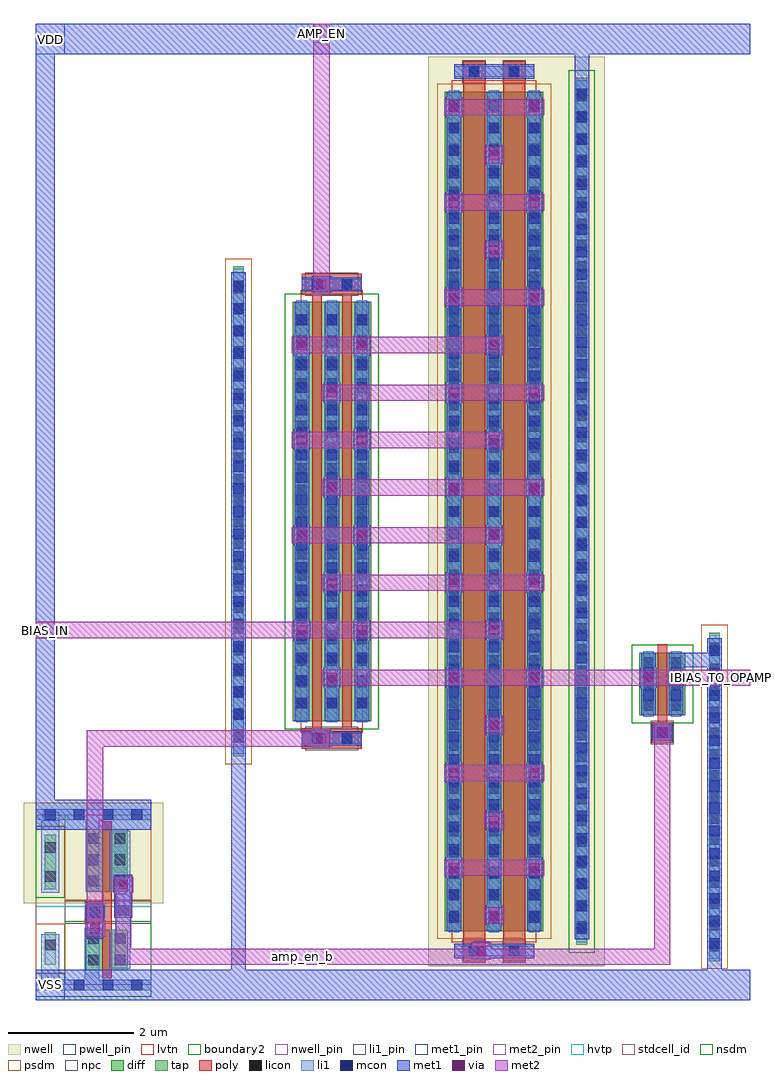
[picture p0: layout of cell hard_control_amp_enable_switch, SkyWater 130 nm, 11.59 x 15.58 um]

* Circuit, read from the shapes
.subckt hard_control_amp_enable_switch AMP_EN BIAS_IN IBIAS_TO_OPAMP VDD VSS amp_en_b
XM1 amp_en_b AMP_EN VSS VSS sky130_fd_pr__nfet_01v8 w=0.65 l=0.15
XM2 IBIAS_TO_OPAMP AMP_EN BIAS_IN VSS sky130_fd_pr__nfet_01v8_lvt w=6.7 l=0.15 m=2
XM3 VSS amp_en_b IBIAS_TO_OPAMP VSS sky130_fd_pr__nfet_01v8 w=1 l=0.15
XM4 amp_en_b AMP_EN VDD VDD sky130_fd_pr__pfet_01v8_hvt w=1 l=0.15
XM5 BIAS_IN amp_en_b IBIAS_TO_OPAMP VDD sky130_fd_pr__pfet_01v8_lvt w=13.4 l=0.35 m=2
.ends

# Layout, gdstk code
import gdstk
lib = gdstk.Library(unit=1e-6, precision=1e-09)
def R(c, l, rs):  # rectangles x0, y0, x1, y1
    for r in rs: c.add(gdstk.rectangle(r[:2], r[2:], *l))
def A(c, l, x, y, w, h, nx, ny, dx, dy):  # array of equal rectangles
    R(c, l, [(x+i*dx, y+j*dy, x+i*dx+w, y+j*dy+h) for i in range(nx) for j in range(ny)])
def P(c, l, *ps):  # polygons
    for p in ps: c.add(gdstk.Polygon(p, *l))
nwell_pin = (64, 16)
nwell = (64, 20)
diff = (65, 20)
tap = (65, 44)
poly = (66, 20)
licon = (66, 44)
li1_pin = (67, 16)
li1 = (67, 20)
mcon = (67, 44)
met1_pin = (68, 16)
met1 = (68, 20)
via = (68, 44)
met2_pin = (69, 16)
met2 = (69, 20)
hvtp = (78, 44)
stdcell_id = (81, 4)
nsdm = (93, 44)
psdm = (94, 20)
npc = (95, 20)
pwell_pin = (122, 16)
lvtn = (125, 44)
boundary2 = (236, 0)

sky130_fd_sc_hd__tapvpwr = lib.new_cell('sky130_fd_sc_hd__tapvpwrvgnd_1')
R(sky130_fd_sc_hd__tapvpwr, nwell, [(-0.19,1.305,0.65,2.91)])
R(sky130_fd_sc_hd__tapvpwr, tap, [(0.145,0.32,0.315,0.845), (0.145,1.525,0.315,2.4)])
R(sky130_fd_sc_hd__tapvpwr, licon, [(0.145,0.555,0.315,0.725), (0.145,1.645,0.315,1.815), (0.145,2.11,0.315,2.28)])
R(sky130_fd_sc_hd__tapvpwr, li1, [(0,-0.085,0.46,0.085), (0.085,0,0.375,0.81), (0.085,1.47,0.375,2.72), (0,2.635,0.46,2.805)])
R(sky130_fd_sc_hd__tapvpwr, mcon, [(0.145,-0.085,0.315,0.085), (0.145,2.635,0.315,2.805)])
R(sky130_fd_sc_hd__tapvpwr, met1_pin, [(0.105,-0.09,0.36,0.1), (0.11,2.62,0.375,2.765)])
R(sky130_fd_sc_hd__tapvpwr, met1, [(0,-0.24,0.46,0.24), (0,2.48,0.46,2.96)])
R(sky130_fd_sc_hd__tapvpwr, hvtp, [(0,1.25,0.46,2.72)])
R(sky130_fd_sc_hd__tapvpwr, stdcell_id, [(0,0,0.46,2.72)])
R(sky130_fd_sc_hd__tapvpwr, nsdm, [(0,-0.19,0.46,0.19), (0,1.395,0.46,2.53)])
R(sky130_fd_sc_hd__tapvpwr, psdm, [(0,0.19,0.46,0.975), (0,2.53,0.46,2.91)])
sky130_fd_sc_hd__tapvpwr.add(gdstk.Label('VPWR', (0.23,2.72), layer=68, texttype=5))
sky130_fd_sc_hd__tapvpwr.add(gdstk.Label('VGND', (0.23,0), layer=68, texttype=5))
sky130_fd_sc_hd__tapvpwr.add(gdstk.Label('tapvpwrvgnd_1', (0,0), layer=83, texttype=44))

sky130_fd_pr__nfet_01v8_ = lib.new_cell('sky130_fd_pr__nfet_01v8_EUBQG3')
R(sky130_fd_pr__nfet_01v8_, diff, [(-0.365,-0.345,0.365,0.655)])
R(sky130_fd_pr__nfet_01v8_, poly, [(-0.165,-0.785,0.165,-0.455), (-0.075,-0.455,0.075,0.785)])
A(sky130_fd_pr__nfet_01v8_, licon, -0.305, -0.27, 0.17, 0.17, 1, 3, 0, 0.34)
A(sky130_fd_pr__nfet_01v8_, licon, 0.135, -0.27, 0.17, 0.17, 1, 3, 0, 0.34)
R(sky130_fd_pr__nfet_01v8_, licon, [(-0.085,-0.705,0.085,-0.535)])
R(sky130_fd_pr__nfet_01v8_, li1, [(-0.165,-0.705,0.165,-0.535), (-0.305,-0.365,-0.135,0.675), (0.135,-0.365,0.305,0.675)])
R(sky130_fd_pr__nfet_01v8_, mcon, [(-0.085,-0.705,0.085,-0.535), (-0.305,-0.11,-0.135,0.06), (0.135,-0.11,0.305,0.06), (-0.305,0.25,-0.135,0.42), (0.135,0.25,0.305,0.42)])
R(sky130_fd_pr__nfet_01v8_, met1, [(-0.145,-0.735,0.145,-0.505), (-0.335,-0.345,-0.105,0.655), (0.105,-0.345,0.335,0.655)])
R(sky130_fd_pr__nfet_01v8_, nsdm, [(-0.49,-0.47,0.49,0.78)])
R(sky130_fd_pr__nfet_01v8_, npc, [(-0.185,-0.805,0.185,-0.435)])
sky130_fd_pr__nfet_01v8_.add(gdstk.Label('D', (-0.22,0.155), layer=67, texttype=5))
sky130_fd_pr__nfet_01v8_.add(gdstk.Label('S', (0.22,0.155), layer=67, texttype=5))
sky130_fd_pr__nfet_01v8_.add(gdstk.Label('G', (0,-0.62), layer=67, texttype=5))

sky130_fd_pr__pfet_01v8_ = lib.new_cell('sky130_fd_pr__pfet_01v8_lvt_PLM4NS')
R(sky130_fd_pr__pfet_01v8_, nwell, [(-0.965,-7.2,0.965,7.2)])
R(sky130_fd_pr__pfet_01v8_, diff, [(-0.785,-6.7,0.785,6.7)])
R(sky130_fd_pr__pfet_01v8_, poly, [(-0.495,-7.185,-0.145,7.185), (0.145,-7.185,0.495,7.185)])
A(sky130_fd_pr__pfet_01v8_, licon, -0.725, -6.545, 0.17, 0.17, 3, 39, 0.64, 0.34)
R(sky130_fd_pr__pfet_01v8_, licon, [(-0.405,-7.105,-0.235,-6.935), (0.235,-7.105,0.405,-6.935), (-0.405,6.935,-0.235,7.105), (0.235,6.935,0.405,7.105)])
A(sky130_fd_pr__pfet_01v8_, li1, -0.725, -6.72, 0.17, 13.44, 3, 1, 0.64, 0)
R(sky130_fd_pr__pfet_01v8_, li1, [(-0.64,-7.105,0.64,-6.935), (-0.64,6.935,0.64,7.105)])
A(sky130_fd_pr__pfet_01v8_, mcon, -0.725, -6.565, 0.17, 0.17, 3, 37, 0.64, 0.36)
R(sky130_fd_pr__pfet_01v8_, mcon, [(-0.405,-7.105,-0.235,-6.935), (0.235,-7.105,0.405,-6.935), (-0.405,6.935,-0.235,7.105), (0.235,6.935,0.405,7.105)])
A(sky130_fd_pr__pfet_01v8_, met1, -0.755, -6.7, 0.23, 13.4, 3, 1, 0.64, 0)
R(sky130_fd_pr__pfet_01v8_, met1, [(-0.475,-7.135,-0.165,-7.105), (0.165,-7.135,0.475,-7.105), (-0.64,-7.105,0.64,-6.935), (-0.475,-6.935,-0.165,-6.905), (0.165,-6.935,0.475,-6.905), (-0.475,6.905,-0.165,6.935), (0.165,6.905,0.475,6.935), (-0.64,6.935,0.64,7.105), (-0.475,7.105,-0.165,7.135), (0.165,7.105,0.475,7.135)])
R(sky130_fd_pr__pfet_01v8_, psdm, [(-0.91,-6.825,0.91,6.825)])
R(sky130_fd_pr__pfet_01v8_, npc, [(-0.505,-7.205,-0.135,-6.835), (0.135,-7.205,0.505,-6.835), (-0.505,6.835,-0.135,7.205), (0.135,6.835,0.505,7.205)])
R(sky130_fd_pr__pfet_01v8_, lvtn, [(-0.675,-6.88,0.675,6.88)])
sky130_fd_pr__pfet_01v8_.add(gdstk.Label('D0', (-0.64,0), layer=67, texttype=5))
sky130_fd_pr__pfet_01v8_.add(gdstk.Label('G', (0.32,7.02), layer=67, texttype=5))
sky130_fd_pr__pfet_01v8_.add(gdstk.Label('G', (-0.32,7.02), layer=67, texttype=5))
sky130_fd_pr__pfet_01v8_.add(gdstk.Label('S1', (0,0), layer=67, texttype=5))

c_sky130_fd_pr__nfet_01v8_ = lib.new_cell('sky130_fd_pr__nfet_01v8_lvt_8N3VU6')
R(c_sky130_fd_pr__nfet_01v8_, diff, [(-0.625,-3.35,0.625,3.35)])
R(c_sky130_fd_pr__nfet_01v8_, poly, [(-0.48,-3.79,0.48,-3.46), (-0.315,-3.46,-0.165,3.46), (0.165,-3.46,0.315,3.46), (-0.48,3.46,0.48,3.79)])
A(c_sky130_fd_pr__nfet_01v8_, licon, -0.565, -3.145, 0.17, 0.17, 3, 19, 0.48, 0.34)
R(c_sky130_fd_pr__nfet_01v8_, licon, [(-0.325,-3.71,-0.155,-3.54), (0.155,-3.71,0.325,-3.54), (-0.325,3.54,-0.155,3.71), (0.155,3.54,0.325,3.71)])
A(c_sky130_fd_pr__nfet_01v8_, li1, -0.565, -3.37, 0.17, 6.74, 3, 1, 0.48, 0)
R(c_sky130_fd_pr__nfet_01v8_, li1, [(-0.48,-3.71,0.48,-3.54), (-0.48,3.54,0.48,3.71)])
A(c_sky130_fd_pr__nfet_01v8_, mcon, -0.565, -3.145, 0.17, 0.17, 3, 18, 0.48, 0.36)
R(c_sky130_fd_pr__nfet_01v8_, mcon, [(-0.325,-3.71,-0.155,-3.54), (0.155,-3.71,0.325,-3.54), (-0.325,3.54,-0.155,3.71), (0.155,3.54,0.325,3.71)])
A(c_sky130_fd_pr__nfet_01v8_, met1, -0.595, -3.35, 0.23, 6.7, 3, 1, 0.48, 0)
R(c_sky130_fd_pr__nfet_01v8_, met1, [(-0.385,-3.74,-0.095,-3.71), (0.095,-3.74,0.385,-3.71), (-0.48,-3.71,0.48,-3.54), (-0.385,-3.54,-0.095,-3.51), (0.095,-3.54,0.385,-3.51), (-0.385,3.51,-0.095,3.54), (0.095,3.51,0.385,3.54), (-0.48,3.54,0.48,3.71), (-0.385,3.71,-0.095,3.74), (0.095,3.71,0.385,3.74)])
R(c_sky130_fd_pr__nfet_01v8_, nsdm, [(-0.75,-3.475,0.75,3.475)])
R(c_sky130_fd_pr__nfet_01v8_, npc, [(-0.425,-3.81,0.425,-3.44), (-0.425,3.44,0.425,3.81)])
R(c_sky130_fd_pr__nfet_01v8_, lvtn, [(-0.495,-3.53,0.495,3.53)])
c_sky130_fd_pr__nfet_01v8_.add(gdstk.Label('D0', (-0.48,0), layer=67, texttype=5))
c_sky130_fd_pr__nfet_01v8_.add(gdstk.Label('G', (0.24,3.625), layer=67, texttype=5))
c_sky130_fd_pr__nfet_01v8_.add(gdstk.Label('G', (-0.24,3.625), layer=67, texttype=5))
c_sky130_fd_pr__nfet_01v8_.add(gdstk.Label('S1', (0,0), layer=67, texttype=5))

switch_tg_analog_nf02 = lib.new_cell('switch_tg_analog_nf02')
R(switch_tg_analog_nf02, nwell, [(3.36,-7.26,6.18,7.26)])
R(switch_tg_analog_nf02, tap, [(5.73,-6.92,5.9,6.92), (0.25,-3.91,0.42,3.91)])
A(switch_tg_analog_nf02, licon, 5.73, -6.715, 0.17, 0.17, 1, 40, 0, 0.34)
A(switch_tg_analog_nf02, licon, 0.25, -3.655, 0.17, 0.17, 1, 22, 0, 0.34)
R(switch_tg_analog_nf02, li1, [(5.73,-6.88,5.9,6.88), (0.25,-3.87,0.42,3.87)])
A(switch_tg_analog_nf02, mcon, 5.73, -6.745, 0.17, 0.17, 1, 38, 0, 0.36)
A(switch_tg_analog_nf02, mcon, 0.25, -3.685, 0.17, 0.17, 1, 21, 0, 0.36)
R(switch_tg_analog_nf02, met1_pin, [(0.22,-0.4,0.45,0.4), (5.7,-0.4,5.93,0.4), (1.345,3.51,1.98,3.74), (3.775,6.905,4.64,7.135)])
R(switch_tg_analog_nf02, met1, [(3.775,-7.135,5.055,-6.905), (5.7,-6.83,5.93,6.83), (4.285,-6.61,4.545,-6.29), (3.645,-5.85,3.905,-5.53), (4.925,-5.85,5.185,-5.53), (4.285,-5.09,4.545,-4.77), (3.645,-4.335,3.905,-4.015), (4.925,-4.335,5.185,-4.015), (0.22,-3.82,0.45,3.82), (1.345,-3.74,2.305,-3.51), (4.285,-3.575,4.545,-3.255), (1.695,-2.815,1.955,-2.495), (3.645,-2.815,3.905,-2.495), (4.925,-2.815,5.185,-2.495), (1.215,-2.055,1.475,-1.735), (2.175,-2.055,2.435,-1.735), (4.285,-2.055,4.545,-1.735), (1.695,-1.3,1.955,-0.98), (3.645,-1.3,3.905,-0.98), (4.925,-1.3,5.185,-0.98), (1.215,-0.54,1.475,-0.22), (2.175,-0.54,2.435,-0.22), (4.285,-0.54,4.545,-0.22), (1.695,0.22,1.955,0.54), (3.645,0.22,3.905,0.54), (4.925,0.22,5.185,0.54), (1.215,0.98,1.475,1.3), (2.175,0.98,2.435,1.3), (4.285,0.98,4.545,1.3), (1.695,1.735,1.955,2.055), (3.645,1.735,3.905,2.055), (4.925,1.735,5.185,2.055), (1.215,2.495,1.475,2.815), (2.175,2.495,2.435,2.815), (4.285,2.495,4.545,2.815), (3.645,3.255,3.905,3.575), (4.925,3.255,5.185,3.575), (1.345,3.51,2.305,3.74), (4.285,4.015,4.545,4.335), (3.645,4.77,3.905,5.09), (4.925,4.77,5.185,5.09), (4.285,5.53,4.545,5.85), (3.645,6.29,3.905,6.61), (4.925,6.29,5.185,6.61), (3.775,6.905,5.055,7.135)])
R(switch_tg_analog_nf02, via, [(4.34,-6.525,4.49,-6.375), (3.7,-5.765,3.85,-5.615), (4.98,-5.765,5.13,-5.615), (4.34,-5.005,4.49,-4.855), (3.7,-4.25,3.85,-4.1), (4.98,-4.25,5.13,-4.1), (4.34,-3.49,4.49,-3.34), (1.75,-2.73,1.9,-2.58), (3.7,-2.73,3.85,-2.58), (4.98,-2.73,5.13,-2.58), (1.27,-1.97,1.42,-1.82), (2.23,-1.97,2.38,-1.82), (4.34,-1.97,4.49,-1.82), (1.75,-1.215,1.9,-1.065), (3.7,-1.215,3.85,-1.065), (4.98,-1.215,5.13,-1.065), (1.27,-0.455,1.42,-0.305), (2.23,-0.455,2.38,-0.305), (4.34,-0.455,4.49,-0.305), (1.75,0.305,1.9,0.455), (3.7,0.305,3.85,0.455), (4.98,0.305,5.13,0.455), (1.27,1.065,1.42,1.215), (2.23,1.065,2.38,1.215), (4.34,1.065,4.49,1.215), (1.75,1.82,1.9,1.97), (3.7,1.82,3.85,1.97), (4.98,1.82,5.13,1.97), (1.27,2.58,1.42,2.73), (2.23,2.58,2.38,2.73), (4.34,2.58,4.49,2.73), (3.7,3.34,3.85,3.49), (4.98,3.34,5.13,3.49), (4.34,4.1,4.49,4.25), (3.7,4.855,3.85,5.005), (4.98,4.855,5.13,5.005), (4.34,5.615,4.49,5.765), (3.7,6.375,3.85,6.525), (4.98,6.375,5.13,6.525)])
R(switch_tg_analog_nf02, met2_pin, [(4.915,-2.785,5.215,-2.525), (1.185,-2.025,1.485,-1.765)])
R(switch_tg_analog_nf02, met2, [(4.255,-6.58,4.575,-6.32), (3.615,-5.82,5.215,-5.56), (4.255,-5.06,4.575,-4.8), (3.615,-4.305,5.215,-4.045), (4.255,-3.545,4.575,-3.285), (1.665,-2.785,5.215,-2.525), (1.185,-2.025,4.575,-1.765), (1.665,-1.27,5.215,-1.01), (1.185,-0.51,4.575,-0.25), (1.665,0.25,5.215,0.51), (1.185,1.01,4.575,1.27), (1.665,1.765,5.215,2.025), (1.185,2.525,4.575,2.785), (3.615,3.285,5.215,3.545), (4.255,4.045,4.575,4.305), (3.615,4.8,5.215,5.06), (4.255,5.56,4.575,5.82), (3.615,6.32,5.215,6.58)])
R(switch_tg_analog_nf02, nsdm, [(5.605,-7.045,6.025,7.045)])
R(switch_tg_analog_nf02, psdm, [(0.125,-4.035,0.545,4.035)])
switch_tg_analog_nf02.add(gdstk.Reference(sky130_fd_pr__pfet_01v8_, (4.415,0)))
switch_tg_analog_nf02.add(gdstk.Reference(c_sky130_fd_pr__nfet_01v8_, (1.825,0)))
switch_tg_analog_nf02.add(gdstk.Label('G', (1.662,3.625), layer=68, texttype=5))
switch_tg_analog_nf02.add(gdstk.Label('GB', (4.207,7.02), layer=68, texttype=5))
switch_tg_analog_nf02.add(gdstk.Label('VSS', (0.335,0), layer=68, texttype=5))
switch_tg_analog_nf02.add(gdstk.Label('VDD', (5.815,0), layer=68, texttype=5))
switch_tg_analog_nf02.add(gdstk.Label('A', (1.335,-1.895), layer=69, texttype=5))
switch_tg_analog_nf02.add(gdstk.Label('B', (5.065,-2.655), layer=69, texttype=5))

sky130_fd_sc_hd__inv_1 = lib.new_cell('sky130_fd_sc_hd__inv_1')
R(sky130_fd_sc_hd__inv_1, nwell_pin, [(0.145,2.635,0.315,2.805), (0.145,2.635,0.315,2.805)])
R(sky130_fd_sc_hd__inv_1, nwell, [(-0.19,1.305,1.57,2.91)])
R(sky130_fd_sc_hd__inv_1, diff, [(0.34,0.235,1.01,0.885), (0.34,1.485,1.01,2.485)])
P(sky130_fd_sc_hd__inv_1, poly, [(0.6,0.105),(0.6,0.995),(0.32,0.995),(0.32,1.325),(0.6,1.325),(0.6,2.615),(0.75,2.615),(0.75,0.105)])
A(sky130_fd_sc_hd__inv_1, licon, 0.38, 1.575, 0.17, 0.17, 1, 3, 0, 0.34)
A(sky130_fd_sc_hd__inv_1, licon, 0.8, 1.575, 0.17, 0.17, 1, 3, 0, 0.34)
R(sky130_fd_sc_hd__inv_1, licon, [(0.38,0.315,0.55,0.485), (0.8,0.315,0.97,0.485), (0.38,0.655,0.55,0.825), (0.8,0.655,0.97,0.825), (0.4,1.075,0.57,1.245)])
R(sky130_fd_sc_hd__inv_1, li1_pin, [(0.36,1.105,0.53,1.275), (0.82,1.105,0.99,1.275), (0.82,1.445,0.99,1.615)])
R(sky130_fd_sc_hd__inv_1, li1, [(0,-0.085,1.38,0.085), (0.32,0.005,0.55,0.905), (0.32,1.075,0.65,1.315), (0.34,1.495,0.55,2.675), (0,2.635,1.38,2.805)])
P(sky130_fd_sc_hd__inv_1, li1, [(0.72,0.255),(0.72,0.885),(0.82,0.885),(0.82,1.485),(0.72,1.485),(0.72,2.465),(1.05,2.465),(1.05,0.255)])
A(sky130_fd_sc_hd__inv_1, mcon, 0.145, -0.085, 0.17, 0.17, 3, 2, 0.46, 2.72)
R(sky130_fd_sc_hd__inv_1, met1_pin, [(0.145,-0.085,0.315,0.085), (0.145,-0.085,0.315,0.085), (0.145,2.635,0.315,2.805), (0.145,2.635,0.315,2.805)])
R(sky130_fd_sc_hd__inv_1, hvtp, [(0,1.25,1.38,2.72)])
R(sky130_fd_sc_hd__inv_1, stdcell_id, [(0,0,1.38,2.72)])
R(sky130_fd_sc_hd__inv_1, nsdm, [(0,-0.19,1.38,1.015)])
R(sky130_fd_sc_hd__inv_1, psdm, [(0,1.355,1.38,2.91)])
R(sky130_fd_sc_hd__inv_1, npc, [(0,0.975,1.38,1.345)])
R(sky130_fd_sc_hd__inv_1, pwell_pin, [(0.145,-0.085,0.315,0.085), (0.145,-0.085,0.315,0.085)])
R(sky130_fd_sc_hd__inv_1, boundary2, [(0,0,1.38,2.72)])
sky130_fd_sc_hd__inv_1.add(gdstk.FlexPath([(0,2.72),(1.38,2.72)], 0.48, ends="flush", simple_path=True, layer=68, datatype=20))  # met1
sky130_fd_sc_hd__inv_1.add(gdstk.FlexPath([(0,0),(1.38,0)], 0.48, ends="flush", simple_path=True, layer=68, datatype=20))  # met1
sky130_fd_sc_hd__inv_1.add(gdstk.Label('Y', (0.905,1.53), layer=67, texttype=5))
sky130_fd_sc_hd__inv_1.add(gdstk.Label('Y', (0.905,1.19), layer=67, texttype=5))
sky130_fd_sc_hd__inv_1.add(gdstk.Label('A', (0.445,1.19), layer=67, texttype=5))
sky130_fd_sc_hd__inv_1.add(gdstk.Label('VGND', (0.23,0), layer=68, texttype=5))
sky130_fd_sc_hd__inv_1.add(gdstk.Label('VPWR', (0.23,2.72), layer=68, texttype=5))
sky130_fd_sc_hd__inv_1.add(gdstk.Label('inv_1', (0,0), layer=83, texttype=44))
sky130_fd_sc_hd__inv_1.add(gdstk.Label('VPB', (0.23,2.72), layer=64, texttype=5))
sky130_fd_sc_hd__inv_1.add(gdstk.Label('VNB', (0.23,0), layer=64, texttype=59))

hard_control_amp_enable_ = lib.new_cell('hard_control_amp_enable_switch')
R(hard_control_amp_enable_, tap, [(10.75,0.38,10.92,5.625)])
A(hard_control_amp_enable_, licon, 10.75, 0.535, 0.17, 0.17, 1, 15, 0, 0.34)
R(hard_control_amp_enable_, li1, [(10.75,0.42,10.92,5.585), (0.86,1.075,1.03,1.245), (1.31,1.105,1.48,1.275)])
A(hard_control_amp_enable_, mcon, 10.75, 0.575, 0.17, 0.17, 1, 14, 0, 0.36)
R(hard_control_amp_enable_, mcon, [(0.86,1.075,1.03,1.245), (1.31,1.105,1.48,1.275)])
R(hard_control_amp_enable_, met1_pin, [(0,-0.24,0.46,0.24), (0,14.86,0.46,15.34)])
R(hard_control_amp_enable_, met1, [(0,-0.24,11.4,0.24), (3.12,0.24,3.35,3.96), (10.72,0.24,10.95,5.075), (6.95,0.41,7.27,0.67), (0.815,0.74,1.075,1.045), (0.8,1.045,1.09,1.275), (1.25,1.075,1.54,1.76), (0.815,1.275,1.075,1.3), (0,2.48,0.3,14.86), (4.4,3.805,4.72,4.065), (9.84,3.9,10.16,4.16), (9.65,4.745,9.91,5.065), (10.105,5.075,10.95,5.305), (10.72,5.305,10.95,5.535), (4.4,11.055,4.72,11.315), (8.6,14.16,8.83,14.86), (0,14.86,11.4,15.34)])
R(hard_control_amp_enable_, via, [(7.035,0.465,7.185,0.615), (0.87,0.825,1.02,0.975), (1.32,1.525,1.47,1.675), (4.485,3.86,4.635,4.01), (9.925,3.955,10.075,4.105), (9.705,4.83,9.855,4.98), (4.485,11.11,4.635,11.26)])
R(hard_control_amp_enable_, met2_pin, [(11.1,4.775,11.4,5.035), (0,5.535,0.3,5.795), (4.43,15.04,4.69,15.34)])
R(hard_control_amp_enable_, met2, [(1.265,0.32,10.13,0.58), (1.265,0.58,1.525,1.47), (6.95,0.58,7.27,0.67), (9.87,0.58,10.13,4.19), (6.98,0.67,7.24,0.7), (0.785,0.77,1.105,1.03), (0.815,1.03,1.075,3.805), (1.235,1.47,1.555,1.73), (4.43,3.775,4.69,3.805), (0.815,3.805,4.69,4.065), (4.43,4.065,4.69,4.095), (8.015,4.775,11.4,5.035), (0,5.535,4.235,5.795), (4.43,11.025,4.69,15.34)])
R(hard_control_amp_enable_, psdm, [(10.625,0.255,11.045,5.75)])
hard_control_amp_enable_.add(gdstk.Reference(sky130_fd_sc_hd__tapvpwr, (0,0)))
hard_control_amp_enable_.add(gdstk.Reference(sky130_fd_pr__nfet_01v8_, (10,4.65)))
hard_control_amp_enable_.add(gdstk.Reference(switch_tg_analog_nf02, (2.9,7.56)))
hard_control_amp_enable_.add(gdstk.Reference(sky130_fd_sc_hd__inv_1, (0.46,0)))
hard_control_amp_enable_.add(gdstk.Label('VSS', (0.23,0), layer=68, texttype=5))
hard_control_amp_enable_.add(gdstk.Label('VDD', (0.23,15.1), layer=68, texttype=5))
hard_control_amp_enable_.add(gdstk.Label('amp_en_b', (4.25,0.45), layer=69, texttype=5))
hard_control_amp_enable_.add(gdstk.Label('AMP_EN', (4.56,15.19), layer=69, texttype=5))
hard_control_amp_enable_.add(gdstk.Label('IBIAS_TO_OPAMP', (11.25,4.905), layer=69, texttype=5))
hard_control_amp_enable_.add(gdstk.Label('BIAS_IN', (0.15,5.665), layer=69, texttype=5))

lib.write_gds('hard_control_amp_enable_switch.gds')
